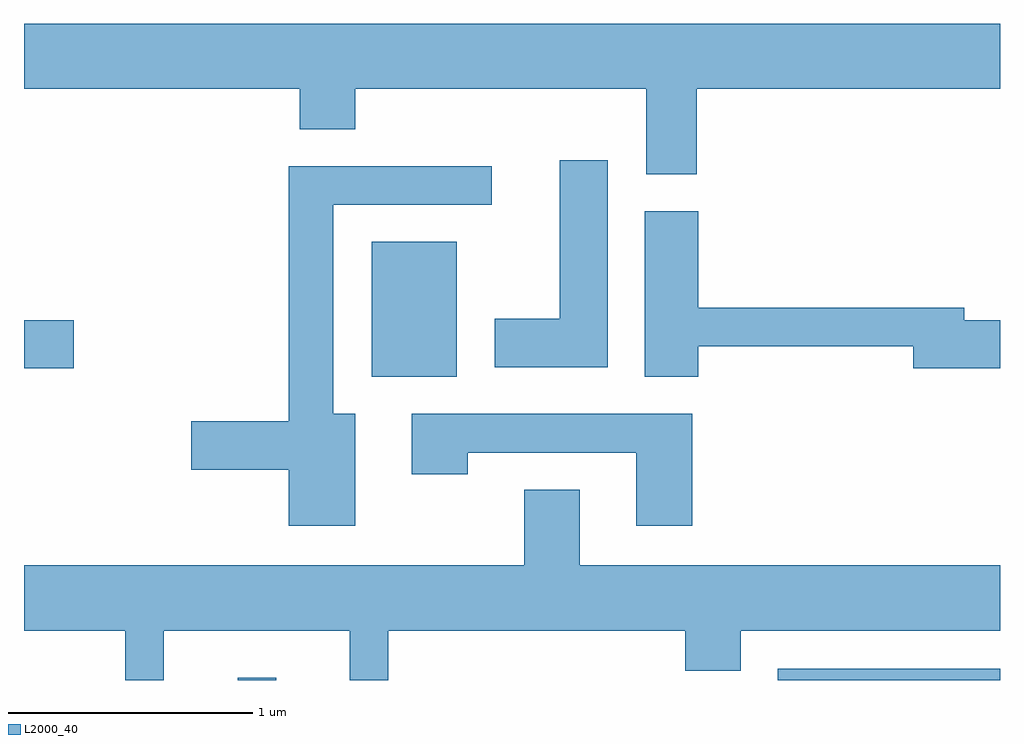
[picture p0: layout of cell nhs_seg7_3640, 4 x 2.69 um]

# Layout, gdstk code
import gdstk
lib = gdstk.Library(unit=1e-6, precision=1e-09)
def R(c, l, rs):  # rectangles x0, y0, x1, y1
    for r in rs: c.add(gdstk.rectangle(r[:2], r[2:], *l))
def P(c, l, *ps):  # polygons
    for p in ps: c.add(gdstk.Polygon(p, *l))
L2000_40 = (2000, 40)

nhs_seg7_3640 = lib.new_cell('nhs_seg7_3640')
R(nhs_seg7_3640, L2000_40, [(296.486,1796.252,296.644,1796.263), (298.701,1796.252,299.611,1796.299), (297.036,1797.496,297.384,1798.049), (295.611,1797.531,295.814,1797.729)])
P(nhs_seg7_3640, L2000_40, [(295.611,1798.676),(296.741,1798.676),(296.741,1798.511),(296.969,1798.511),(296.969,1798.676),(298.161,1798.676),(298.161,1798.326),(298.369,1798.326),(298.369,1798.676),(299.611,1798.676),(299.611,1798.944),(295.611,1798.944)],
  [(298.004,1798.384),(297.806,1798.384),(297.806,1797.734),(297.541,1797.734),(297.541,1797.536),(298.004,1797.536)],
  [(296.969,1797.344),(296.879,1797.344),(296.879,1798.201),(297.528,1798.201),(297.528,1798.359),(296.696,1798.359),(296.696,1797.314),(296.296,1797.314),(296.296,1797.116),(296.696,1797.116),(296.696,1796.886),(296.969,1796.886)],
  [(298.374,1797.621),(299.256,1797.621),(299.256,1797.531),(299.611,1797.531),(299.611,1797.729),(299.464,1797.729),(299.464,1797.779),(298.374,1797.779),(298.374,1798.174),(298.156,1798.174),(298.156,1797.496),(298.374,1797.496)],
  [(298.349,1797.344),(297.201,1797.344),(297.201,1797.096),(297.429,1797.096),(297.429,1797.186),(298.121,1797.186),(298.121,1796.886),(298.349,1796.886)],
  [(295.611,1796.456),(296.026,1796.456),(296.026,1796.252),(296.184,1796.252),(296.184,1796.456),(296.946,1796.456),(296.946,1796.252),(297.104,1796.252),(297.104,1796.456),(298.321,1796.456),(298.321,1796.291),(298.549,1796.291),(298.549,1796.456),(299.611,1796.456),(299.611,1796.724),(297.889,1796.724),(297.889,1797.034),(297.661,1797.034),(297.661,1796.724),(295.611,1796.724)])

lib.write_gds('nhs_seg7_3640.gds')
